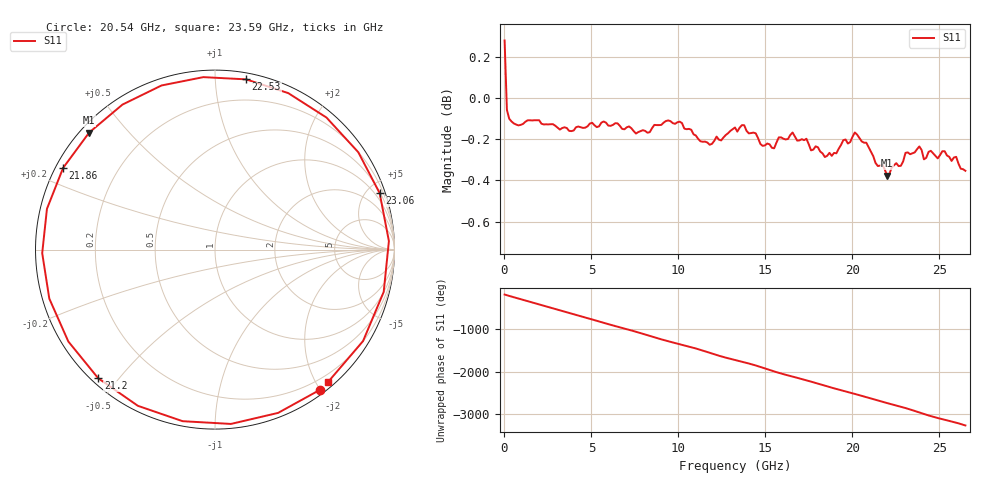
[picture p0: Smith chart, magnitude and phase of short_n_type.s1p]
#  HZ  S  DB  R  50.00
! Rohde & Schwarz Vector Network Analyzer
! Rohde-Schwarz,ZNA26-4Port,1332450024101475,2.90
! Created: UTC 5/23/2025, 8:17:47 PM
! freq[Hz]  db:S33  ang:S33
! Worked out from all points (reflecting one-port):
!   201 points, 10 MHz to 26.5 GHz, reference 50 ohm
!   lowest |S11| = -0.4 dB at 22 GHz (marker M1), VSWR 46.03, Z = 1.25 + j19.7 ohm
!   phase of S11 starts at -180 deg and turns -3092 deg over the sweep
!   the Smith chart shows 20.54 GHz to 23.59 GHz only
!   S11 on the Smith chart (normalised r, x): 20.54 GHz: 0.06, -2.00; 21.2 GHz: 0.02, -0.44; 21.86 GHz: 0.02, +0.25; 22.53 GHz: 0.04, +1.20; 23.06 GHz: 0.56, +5.95; 23.59 GHz: 0.09, -2.17
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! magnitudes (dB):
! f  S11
! 10 MHz  0.3
! 142.4 MHz  -0.1
! 274.9 MHz  -0.1
! 3.321 GHz  -0.1
! 6.633 GHz  -0.1
! 7.56 GHz  -0.2
! 9.944 GHz  -0.1
! 11.8 GHz  -0.2
! 13.26 GHz  -0.1
! 13.78 GHz  -0.1
! 15.51 GHz  -0.2
! 16.57 GHz  -0.2
! 18.42 GHz  -0.3
! 19.88 GHz  -0.2
! 20.14 GHz  -0.2
! 20.54 GHz  -0.2
! 21.2 GHz  -0.3
! 21.86 GHz  -0.3
! 22 GHz  -0.4
! 22.53 GHz  -0.3
! 22.79 GHz  -0.3
! 23.06 GHz  -0.3
! 23.19 GHz  -0.3
! 23.59 GHz  -0.3
! 23.85 GHz  -0.2
! 24.12 GHz  -0.3
! 25.31 GHz  -0.3
! 26.5 GHz  -0.4
